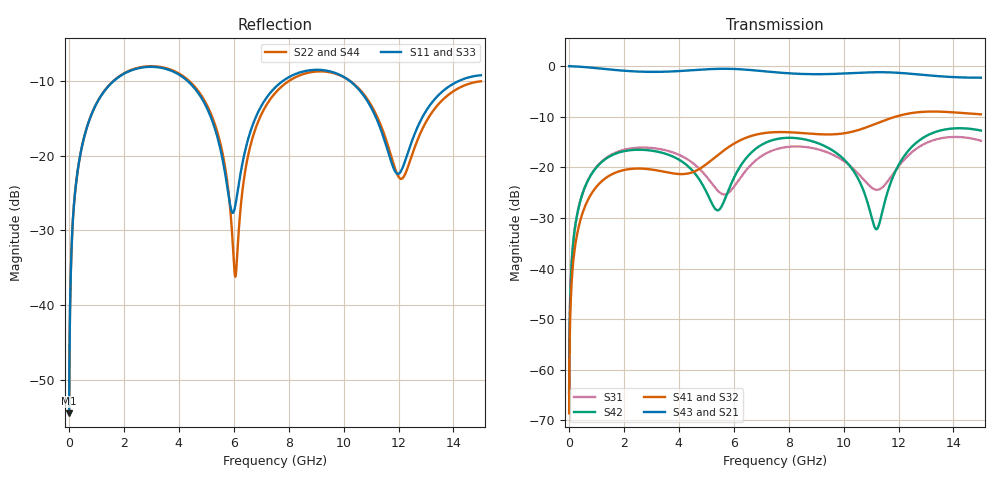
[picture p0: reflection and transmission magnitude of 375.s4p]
! Created with skrf 1.8.0 (http://scikit-rf.org).
# GHz S RI R 50.0
!freq ReS11 ImS11 ReS12 ImS12 ReS13 ImS13
! ReS14 ImS14
! ReS21 ImS21 ReS22 ImS22 ReS23 ImS23
! ReS24 ImS24
! ReS31 ImS31 ReS32 ImS32 ReS33 ImS33
! ReS34 ImS34
! ReS41 ImS41 ReS42 ImS42 ReS43 ImS43
! ReS44 ImS44
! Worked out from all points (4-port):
!   2499 points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, 5 MHz to 15 GHz, reference 50 ohm
!   strongest paths, dB at 5 MHz, 3.476 GHz, 7.19 GHz, 11.1 GHz, 15 GHz:
!     S43: 0.0, -1.1, -1.1, -1.2, -2.3
!     S21: 0.0, -1.1, -1.1, -1.2, -2.3
!     S41: -68.6, -20.9, -13.2, -11.5, -9.5
!     S32: -68.6, -20.9, -13.2, -11.5, -9.6
!     S42: -64.7, -17.3, -15.1, -31.4, -12.7
!     S31: -64.7, -16.6, -17.2, -24.3, -14.7
!   lowest |S11| = -54.5 dB at 5 MHz (marker M1), VSWR 1.00, Z = 50.1 + j0.114 ohm
!   |S11| at or under -10 dB: start of sweep to 1.629 GHz; 4.319 GHz to 7.788 GHz (3.469 GHz wide, 57.3 % of centre); 10.23 GHz to 14.19 GHz (3.968 GHz wide, 32.5 % of centre)
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0.005  0.0015 0.00114  0.9985 -0.00291  7.43e-05 0.000578  -7.22e-05 -0.000365
       0.9985 -0.00291  0.0015 0.00114  -7.22e-05 -0.000365  7.41e-05 0.000578
       7.43e-05 0.000578  -7.22e-05 -0.000365  0.0015 0.00114  0.9985 -0.00291
       -7.22e-05 -0.000365  7.41e-05 0.000578  0.9985 -0.00291  0.0015 0.00114
0.3126303  0.0205 0.0755  0.972 -0.1819  0.00945 0.0346  -0.00761 -0.0217
           0.972 -0.1819  0.0206 0.0755  -0.00761 -0.0217  0.00875 0.0348
           0.00945 0.0346  -0.00761 -0.0217  0.0205 0.0755  0.972 -0.1819
           -0.00761 -0.0217  0.00875 0.0348  0.972 -0.1819  0.0206 0.0755
1.569404  0.2448 0.1887  0.6004 -0.6987  0.1208 0.0597  -0.0844 -0.0143
          0.6004 -0.6987  0.248 0.1868  -0.0843 -0.0144  0.1107 0.0718
          0.1208 0.0597  -0.0843 -0.0144  0.2448 0.1886  0.6004 -0.6988
          -0.0844 -0.0143  0.1107 0.0718  0.6004 -0.6988  0.2479 0.1869
6.058774  0.043 0.0179  -0.9354 -0.0307  -0.0396 0.0544  0.000303 0.1745
          -0.9354 -0.0307  0.0154 -0.000728  -0.00211 0.1745  0.0554 0.0632
          -0.0396 0.0544  -0.00211 0.1745  0.0411 0.019  -0.9354 -0.0302
          0.000303 0.1745  0.0554 0.0632  -0.9354 -0.0302  0.017 0.000178
9.36015  0.3678 -0.0517  0.0272 0.8341  0.1186 -0.0786  0.2005 -0.0669
         0.0272 0.8341  0.3635 -0.0323  0.2008 -0.0623  0.1263 -0.098
         0.1186 -0.0786  0.2008 -0.0623  0.3707 -0.0517  0.0271 0.8332
         0.2005 -0.0669  0.1263 -0.098  0.0271 0.8332  0.3652 -0.0325
11.19842  0.1254 -0.1247  0.7168 0.4936  -0.0567 -0.0197  0.1468 -0.228
          0.7168 0.4936  0.1304 -0.133  0.1531 -0.224  -0.0243 -0.00251
          -0.0567 -0.0197  0.1531 -0.224  0.1241 -0.1276  0.7161 0.4938
          0.1468 -0.228  -0.0243 -0.00251  0.7161 0.4938  0.1341 -0.1333
15  0.3453 -0.00184  0.199 -0.7442  0.1741 -0.0572  -0.3342 -0.00419
    0.199 -0.7442  0.3143 0.0145  -0.3321 -0.0149  0.198 -0.1188
    0.1741 -0.0572  -0.3321 -0.0149  0.3522 0.00142  0.1985 -0.7422
    -0.3342 -0.00419  0.198 -0.1188  0.1985 -0.7422  0.3183 0.0139
